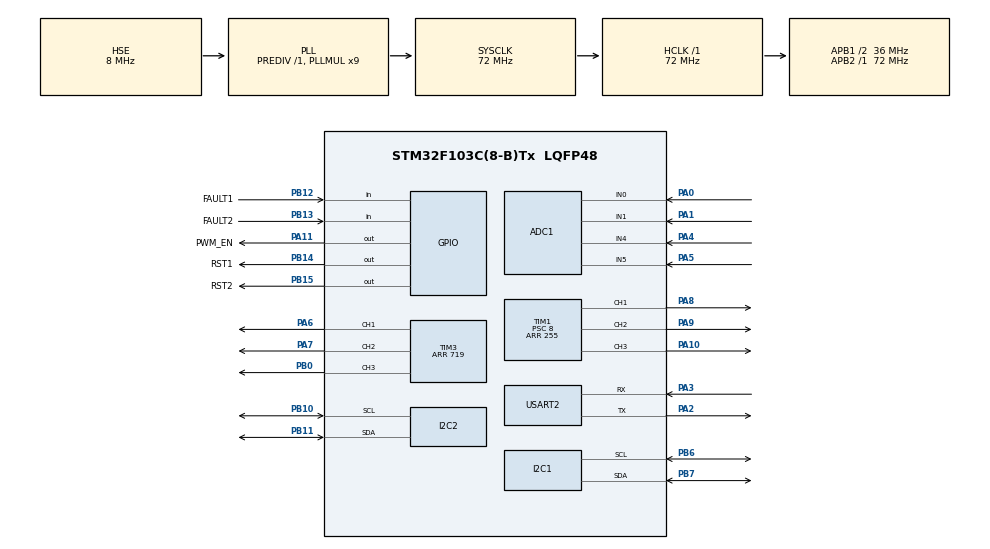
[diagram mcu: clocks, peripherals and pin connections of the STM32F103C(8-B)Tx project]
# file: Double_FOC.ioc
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ADC1.Channel-0\#ChannelRegularConversion=ADC_CHANNEL_0
ADC1.Channel-5\#ChannelRegularConversion=ADC_CHANNEL_1
ADC1.Channel-6\#ChannelRegularConversion=ADC_CHANNEL_4
ADC1.Channel-7\#ChannelRegularConversion=ADC_CHANNEL_5
ADC1.ContinuousConvMode=DISABLE
ADC1.EnableInjectedConversion=DISABLE
ADC1.InjNumberOfConversion=4
ADC1.NbrOfConversion=4
ADC1.NbrOfConversionFlag=1
ADC1.Rank-0\#ChannelRegularConversion=1
ADC1.Rank-5\#ChannelRegularConversion=2
ADC1.Rank-6\#ChannelRegularConversion=3
ADC1.Rank-7\#ChannelRegularConversion=4
ADC1.SamplingTime-0\#ChannelRegularConversion=ADC_SAMPLETIME_1CYCLE_5
ADC1.SamplingTime-5\#ChannelRegularConversion=ADC_SAMPLETIME_1CYCLE_5
ADC1.SamplingTime-6\#ChannelRegularConversion=ADC_SAMPLETIME_1CYCLE_5
ADC1.SamplingTime-7\#ChannelRegularConversion=ADC_SAMPLETIME_1CYCLE_5
ADC1.master=1
Dma.ADC1.0.Direction=DMA_PERIPH_TO_MEMORY
Dma.ADC1.0.Instance=DMA1_Channel1
Dma.ADC1.0.MemDataAlignment=DMA_MDATAALIGN_HALFWORD
Dma.ADC1.0.MemInc=DMA_MINC_ENABLE
Dma.ADC1.0.Mode=DMA_CIRCULAR
Dma.ADC1.0.PeriphDataAlignment=DMA_PDATAALIGN_HALFWORD
Dma.ADC1.0.PeriphInc=DMA_PINC_DISABLE
Dma.ADC1.0.Priority=DMA_PRIORITY_HIGH
Dma.Request0=ADC1
Dma.Request1=USART2_RX
Dma.Request2=USART2_TX
Dma.USART2_RX.1.Direction=DMA_PERIPH_TO_MEMORY
Dma.USART2_RX.1.Instance=DMA1_Channel6
Dma.USART2_RX.1.MemDataAlignment=DMA_MDATAALIGN_BYTE
Dma.USART2_RX.1.MemInc=DMA_MINC_ENABLE
Dma.USART2_RX.1.Mode=DMA_CIRCULAR
Dma.USART2_RX.1.PeriphDataAlignment=DMA_PDATAALIGN_BYTE
Dma.USART2_RX.1.PeriphInc=DMA_PINC_DISABLE
Dma.USART2_RX.1.Priority=DMA_PRIORITY_MEDIUM
Dma.USART2_TX.2.Direction=DMA_MEMORY_TO_PERIPH
Dma.USART2_TX.2.Instance=DMA1_Channel7
Dma.USART2_TX.2.MemDataAlignment=DMA_MDATAALIGN_BYTE
Dma.USART2_TX.2.MemInc=DMA_MINC_ENABLE
Dma.USART2_TX.2.Mode=DMA_NORMAL
Dma.USART2_TX.2.PeriphDataAlignment=DMA_PDATAALIGN_BYTE
Dma.USART2_TX.2.PeriphInc=DMA_PINC_DISABLE
Dma.USART2_TX.2.Priority=DMA_PRIORITY_MEDIUM
I2C1.I2C_Mode=I2C_Fast
I2C2.I2C_Mode=I2C_Fast
Mcu.Family=STM32F1
Mcu.Name=STM32F103C(8-B)Tx
Mcu.Package=LQFP48
NVIC.DMA1_Channel1_IRQn=true\:1\:0\:true\:false\:true\:false\:true\:true
NVIC.DMA1_Channel6_IRQn=true\:1\:0\:true\:false\:true\:false\:true\:true
NVIC.DMA1_Channel7_IRQn=true\:1\:0\:true\:false\:true\:false\:true\:true
NVIC.PriorityGroup=NVIC_PRIORITYGROUP_4
NVIC.USART2_IRQn=true\:0\:0\:true\:false\:true\:true\:true\:true
PA0-WKUP.Signal=ADCx_IN0
PA1.Signal=ADCx_IN1
PA10.Signal=S_TIM1_CH3
PA11.GPIO_Label=PWM_EN
PA11.Signal=GPIO_Output
PA2.Mode=Asynchronous
PA2.Signal=USART2_TX
PA3.Mode=Asynchronous
PA3.Signal=USART2_RX
PA4.Signal=ADCx_IN4
PA5.Signal=ADCx_IN5
PA6.Signal=S_TIM3_CH1
PA7.Signal=S_TIM3_CH2
PA8.Signal=S_TIM1_CH1
PA9.Signal=S_TIM1_CH2
PB0.Signal=S_TIM3_CH3
PB10.Mode=I2C
PB10.Signal=I2C2_SCL
PB11.Mode=I2C
PB11.Signal=I2C2_SDA
PB12.GPIO_Label=FAULT1
PB12.Signal=GPIO_Input
PB13.GPIO_Label=FAULT2
PB13.Signal=GPIO_Input
PB14.GPIO_Label=RST1
PB14.PinState=GPIO_PIN_SET
PB14.Signal=GPIO_Output
PB15.GPIO_Label=RST2
PB15.PinState=GPIO_PIN_SET
PB15.Signal=GPIO_Output
PB6.Mode=I2C
PB6.Signal=I2C1_SCL
PB7.Mode=I2C
PB7.Signal=I2C1_SDA
PD0-OSC_IN.Mode=HSE-External-Oscillator
PD0-OSC_IN.Signal=RCC_OSC_IN
PD1-OSC_OUT.Mode=HSE-External-Oscillator
PD1-OSC_OUT.Signal=RCC_OSC_OUT
ProjectManager.HeapSize=0x200
ProjectManager.StackSize=0x400
ProjectManager.TargetToolchain=MDK-ARM V5.32
RCC.ADCPresc=RCC_ADCPCLK2_DIV6
RCC.AHBFreq_Value=72000000
RCC.APB1CLKDivider=RCC_HCLK_DIV2
RCC.APB1Freq_Value=36000000
RCC.APB1TimFreq_Value=72000000
RCC.APB2Freq_Value=72000000
RCC.APB2TimFreq_Value=72000000
RCC.HCLKFreq_Value=72000000
RCC.PLLMUL=RCC_PLL_MUL9
RCC.PLLSourceVirtual=RCC_PLLSOURCE_HSE
RCC.SYSCLKFreq_VALUE=72000000
RCC.SYSCLKSource=RCC_SYSCLKSOURCE_PLLCLK
RCC.USBFreq_Value=72000000
SH.ADCx_IN0.0=ADC1_IN0,IN0
SH.ADCx_IN1.0=ADC1_IN1,IN1
SH.ADCx_IN4.0=ADC1_IN4,IN4
SH.ADCx_IN5.0=ADC1_IN5,IN5
SH.S_TIM1_CH1.0=TIM1_CH1,PWM Generation1 CH1
SH.S_TIM1_CH2.0=TIM1_CH2,PWM Generation2 CH2
SH.S_TIM1_CH3.0=TIM1_CH3,PWM Generation3 CH3
SH.S_TIM3_CH1.0=TIM3_CH1,PWM Generation1 CH1
SH.S_TIM3_CH2.0=TIM3_CH2,PWM Generation2 CH2
SH.S_TIM3_CH3.0=TIM3_CH3,PWM Generation3 CH3
TIM1.AutoReloadPreload=TIM_AUTORELOAD_PRELOAD_ENABLE
TIM1.Channel-PWM\ Generation1\ CH1=TIM_CHANNEL_1
TIM1.Channel-PWM\ Generation2\ CH2=TIM_CHANNEL_2
TIM1.Channel-PWM\ Generation3\ CH3=TIM_CHANNEL_3
TIM1.Period=255
TIM1.Prescaler=8
TIM2.AutoReloadPreload=TIM_AUTORELOAD_PRELOAD_ENABLE
TIM2.Period=65535
TIM2.Prescaler=7199
TIM3.AutoReloadPreload=TIM_AUTORELOAD_PRELOAD_ENABLE
TIM3.Channel-PWM\ Generation1\ CH1=TIM_CHANNEL_1
TIM3.Channel-PWM\ Generation2\ CH2=TIM_CHANNEL_2
TIM3.Channel-PWM\ Generation3\ CH3=TIM_CHANNEL_3
TIM3.Period=719
USART2.VirtualMode=VM_ASYNC
VP_SYS_VS_ND.Mode=No_Debug
VP_TIM2_VS_ClockSourceINT.Mode=Internal
board=custom

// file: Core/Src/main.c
/* USER CODE BEGIN Header */
/**
  ******************************************************************************
  * @file           : main.c
  * @brief          : Main program body
  ******************************************************************************
  * @attention
  *
  * Copyright (c) 2025 STMicroelectronics.
  * All rights reserved.
  *
  * This software is licensed under terms that can be found in the LICENSE file
  * in the root directory of this software component.
  * If no LICENSE file comes with this software, it is provided AS-IS.
  *
  ******************************************************************************
  */
/* USER CODE END Header */
#include "main.h"
#include "adc.h"
#include "dma.h"
#include "i2c.h"
#include "tim.h"
#include "usart.h"
#include "gpio.h"

/* USER CODE BEGIN Includes */
#include "AS5600.h"
#include "pid.h"
#include "current_sense.h"
#include "MyFOC.h"
#include "common.h"
#include <stdlib.h>
#include <stdio.h>
#include <string.h>
/* USER CODE END Includes */

/* USER CODE BEGIN PV */
Pid_HandleTypedef hpid_speed;
Pid_HandleTypedef hpid_torque;

CurrentSense_HandleTypeDef current_u, current_v;

AS5600_HandleTypeDef has5600;
float angle = 0;
float motor_target = 60;

 float open_loop_timestamp = 0;
/* USER CODE END PV */

void SystemClock_Config(void);

int main(void)
{

  /* MCU Configuration--------------------------------------------------------*/

  /* Reset of all peripherals, Initializes the Flash interface and the Systick. */
  HAL_Init();

  /* Configure the system clock */
  SystemClock_Config();

  /* Initialize all configured peripherals */
  MX_GPIO_Init();
  MX_DMA_Init();
  MX_ADC1_Init();
  MX_TIM1_Init();
  MX_I2C1_Init();
  MX_I2C2_Init();
  MX_TIM3_Init();
  MX_USART2_UART_Init();
  MX_TIM2_Init();
  /* USER CODE BEGIN 2 */
	// 启动定时器
	HAL_TIM_Base_Start(&htim2);

	// 初始化DMA接收
	UART2_DMA_Init_Receive();

	/* 初始化AS5600 */
	AS5600_Init(&has5600, &hi2c1);

	//PID初始化 力-速串级pid
	Pid_Init(&hpid_torque, 0.01, 0.01, 0, 6, 100000);
	Pid_Init(&hpid_speed, 0.013, 0.02, 0, 6, 100000);
//
//	// 电流检测初始化
//	CurrentSense_Init(&current_u, &hadc1, ADC_CHANNEL_0, 0.01f);
//	CurrentSense_Init(&current_v, &hadc1, ADC_CHANNEL_1, 0.01f);
//
//	//零漂校准
//	AS5600_CalibrateZero(&h_as5600);
//	CurrentSense_CalibrateOffset(&current_u, 100);
//	CurrentSense_CalibrateOffset(&current_v, 100);

	// 启动PWM通道
  HAL_GPIO_WritePin(PWM_EN_GPIO_Port, PWM_EN_Pin, GPIO_PIN_SET);
	HAL_TIM_PWM_Start(&htim1, TIM_CHANNEL_1);
	HAL_TIM_PWM_Start(&htim1, TIM_CHANNEL_2);
	HAL_TIM_PWM_Start(&htim1, TIM_CHANNEL_3);

//	UART_DMA_Send(&huart2, "Hello World!\r\n", strlen("Hello World!\r\n"));
  /* USER CODE END 2 */

  /* Infinite loop */
  /* USER CODE BEGIN WHILE */
  while (1)
  {
		float angle_r = AS5600_GetRadian(&has5600);

////		setPhaseVoltage(_constrain(Kp*(motor_target-(-1)*angle), -6, 6), 0, _electricAngle(angle_r));	// 位置闭环
//		setPhaseVoltage(motor_target, 0, _electricAngle(angle_r));	//电压力矩闭环
//
		float velocity = AS5600_GetVelocity(&has5600);
		float back = Pid_Output(&hpid_speed, motor_target, (-1.0f)*velocity);
		setPhaseVoltage(_constrain(back, -6, 6), 0, _electricAngle(angle_r));		// 速度闭环

		if (UART2_DMA_Get_Received_Length() > 0)
		{
			uint16_t len = UART2_DMA_Get_Received_Length();
			uint8_t *rx_data = UART2_DMA_Get_Receive_Buffer();

			((char*)rx_data)[len] = '\0';

			motor_target = (float)atof((char*)rx_data);

			UART2_DMA_Transmit((uint8_t*)&motor_target, sizeof(motor_target));
			// 准备下一次接收
			UART2_DMA_Start_Receive();
		}

		char buffer[8];
		sprintf(buffer, "%f", velocity);
		UART2_DMA_Wait_Transmit_Complete();
		UART2_DMA_Transmit((uint8_t*)buffer, sizeof(buffer));
		UART2_DMA_Wait_Transmit_Complete();
		UART2_DMA_Transmit("\r\n", strlen("\r\n"));

    /* USER CODE END WHILE */

  }
}

void SystemClock_Config(void)
{
  RCC_OscInitTypeDef RCC_OscInitStruct = {0};
  RCC_ClkInitTypeDef RCC_ClkInitStruct = {0};
  RCC_PeriphCLKInitTypeDef PeriphClkInit = {0};

  /** Initializes the RCC Oscillators according to the specified parameters
  * in the RCC_OscInitTypeDef structure.
  */
  RCC_OscInitStruct.OscillatorType = RCC_OSCILLATORTYPE_HSE;
  RCC_OscInitStruct.HSEState = RCC_HSE_ON;
  RCC_OscInitStruct.HSEPredivValue = RCC_HSE_PREDIV_DIV1;
  RCC_OscInitStruct.HSIState = RCC_HSI_ON;
  RCC_OscInitStruct.PLL.PLLState = RCC_PLL_ON;
  RCC_OscInitStruct.PLL.PLLSource = RCC_PLLSOURCE_HSE;
  RCC_OscInitStruct.PLL.PLLMUL = RCC_PLL_MUL9;
  if (HAL_RCC_OscConfig(&RCC_OscInitStruct) != HAL_OK)
  {
    Error_Handler();
  }

  /** Initializes the CPU, AHB and APB buses clocks
  */
  RCC_ClkInitStruct.ClockType = RCC_CLOCKTYPE_HCLK|RCC_CLOCKTYPE_SYSCLK
                              |RCC_CLOCKTYPE_PCLK1|RCC_CLOCKTYPE_PCLK2;
  RCC_ClkInitStruct.SYSCLKSource = RCC_SYSCLKSOURCE_PLLCLK;
  RCC_ClkInitStruct.AHBCLKDivider = RCC_SYSCLK_DIV1;
  RCC_ClkInitStruct.APB1CLKDivider = RCC_HCLK_DIV2;
  RCC_ClkInitStruct.APB2CLKDivider = RCC_HCLK_DIV1;

  if (HAL_RCC_ClockConfig(&RCC_ClkInitStruct, FLASH_LATENCY_2) != HAL_OK)
  {
    Error_Handler();
  }
  PeriphClkInit.PeriphClockSelection = RCC_PERIPHCLK_ADC;
  PeriphClkInit.AdcClockSelection = RCC_ADCPCLK2_DIV6;
  if (HAL_RCCEx_PeriphCLKConfig(&PeriphClkInit) != HAL_OK)
  {
    Error_Handler();
  }
}

void Error_Handler(void)
{
  __disable_irq();
  while (1)
  {
  }
}
